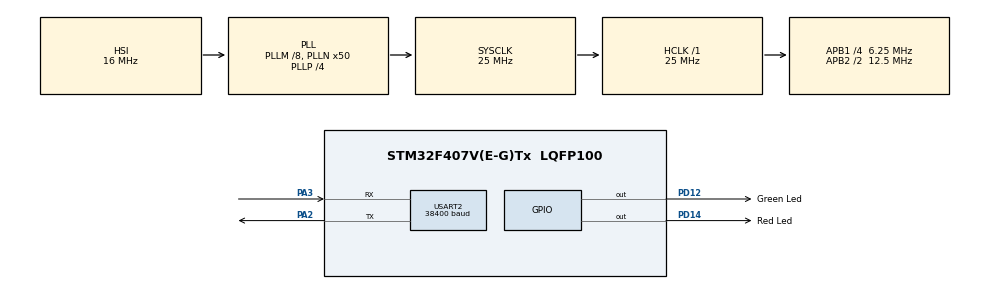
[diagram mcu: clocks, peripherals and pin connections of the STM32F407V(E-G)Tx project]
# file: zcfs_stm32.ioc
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Dma.Request0=USART2_TX
Dma.Request1=USART2_RX
Dma.USART2_RX.1.Direction=DMA_PERIPH_TO_MEMORY
Dma.USART2_RX.1.FIFOMode=DMA_FIFOMODE_DISABLE
Dma.USART2_RX.1.Instance=DMA1_Stream5
Dma.USART2_RX.1.MemDataAlignment=DMA_MDATAALIGN_BYTE
Dma.USART2_RX.1.MemInc=DMA_MINC_ENABLE
Dma.USART2_RX.1.Mode=DMA_NORMAL
Dma.USART2_RX.1.PeriphDataAlignment=DMA_PDATAALIGN_BYTE
Dma.USART2_RX.1.PeriphInc=DMA_PINC_DISABLE
Dma.USART2_RX.1.Priority=DMA_PRIORITY_LOW
Dma.USART2_TX.0.Direction=DMA_MEMORY_TO_PERIPH
Dma.USART2_TX.0.FIFOMode=DMA_FIFOMODE_DISABLE
Dma.USART2_TX.0.Instance=DMA1_Stream6
Dma.USART2_TX.0.MemDataAlignment=DMA_MDATAALIGN_BYTE
Dma.USART2_TX.0.MemInc=DMA_MINC_ENABLE
Dma.USART2_TX.0.Mode=DMA_NORMAL
Dma.USART2_TX.0.PeriphDataAlignment=DMA_PDATAALIGN_BYTE
Dma.USART2_TX.0.PeriphInc=DMA_PINC_DISABLE
Dma.USART2_TX.0.Priority=DMA_PRIORITY_LOW
Mcu.Family=STM32F4
Mcu.Name=STM32F407V(E-G)Tx
Mcu.Package=LQFP100
NVIC.DMA1_Stream5_IRQn=true\:1\:0\:true\:false\:true\:false\:true
NVIC.DMA1_Stream6_IRQn=true\:1\:0\:true\:false\:true\:false\:true
NVIC.PriorityGroup=NVIC_PRIORITYGROUP_2
NVIC.TIM6_DAC_IRQn=true\:2\:0\:true\:false\:true\:true\:true
NVIC.USART2_IRQn=true\:0\:0\:true\:false\:true\:true\:true
PA2.Mode=Asynchronous
PA2.Signal=USART2_TX
PA3.Mode=Asynchronous
PA3.Signal=USART2_RX
PD12.GPIO_Label=Green Led
PD12.Signal=GPIO_Output
PD14.GPIO_Label=Red Led
PD14.Signal=GPIO_Output
ProjectManager.HeapSize=0x200
ProjectManager.StackSize=0x400
ProjectManager.TargetToolchain=STM32CubeIDE
RCC.48MHZClocksFreq_Value=14285714.285714285
RCC.AHBFreq_Value=25000000
RCC.APB1CLKDivider=RCC_HCLK_DIV4
RCC.APB1Freq_Value=6250000
RCC.APB1TimFreq_Value=12500000
RCC.APB2CLKDivider=RCC_HCLK_DIV2
RCC.APB2Freq_Value=12500000
RCC.APB2TimFreq_Value=25000000
RCC.CortexFreq_Value=25000000
RCC.HCLKFreq_Value=25000000
RCC.HSE_VALUE=8000000
RCC.HSI_VALUE=16000000
RCC.LSE_VALUE=32768
RCC.PLLM=8
RCC.PLLN=50
RCC.PLLP=RCC_PLLP_DIV4
RCC.PLLQ=7
RCC.SYSCLKFreq_VALUE=25000000
RCC.SYSCLKSource=RCC_SYSCLKSOURCE_PLLCLK
RCC.VCOOutputFreq_Value=100000000
TIM6.Period=999
TIM6.Prescaler=24999
USART2.BaudRate=38400
USART2.VirtualMode=VM_ASYNC
VP_TIM6_VS_ClockSourceINT.Mode=Enable_Timer
board=STM32F407G-DISC1

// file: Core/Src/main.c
/* USER CODE BEGIN Header */
/**
  ******************************************************************************
  * @file           : main.c
  * @brief          : Main program body
  ******************************************************************************
  * @attention
  *
  * <h2><center>&copy; Copyright (c) 2021 STMicroelectronics.
  * All rights reserved.</center></h2>
  *
  * This software component is licensed by ST under Ultimate Liberty license
  * SLA0044, the "License"; You may not use this file except in compliance with
  * the License. You may obtain a copy of the License at:
  *                             www.st.com/SLA0044
  *
  ******************************************************************************
  */
/* USER CODE END Header */
#include "main.h"

/* USER CODE BEGIN Includes */
#include <stdio.h>
#include <string.h>
#include "fs_syscalls.h"
#include "../Tests/Inc/tests.h"

//#include "fs_core.h"

/* USER CODE END Includes */

TIM_HandleTypeDef htim6;

UART_HandleTypeDef huart2;
DMA_HandleTypeDef hdma_usart2_tx;
DMA_HandleTypeDef hdma_usart2_rx;

void SystemClock_Config(void);
static void MX_GPIO_Init(void);
static void MX_DMA_Init(void);
static void MX_USART2_UART_Init(void);
static void MX_TIM6_Init(void);

int main(void)
{

  /* MCU Configuration--------------------------------------------------------*/

  /* Reset of all peripherals, Initializes the Flash interface and the Systick. */
  HAL_Init();

  /* USER CODE BEGIN Init */
//  mbuf = buffer_init(mbuf);

  /* USER CODE END Init */

  /* Configure the system clock */
  SystemClock_Config();

  /* Initialize all configured peripherals */
  MX_GPIO_Init();
  MX_DMA_Init();
  MX_USART2_UART_Init();
  MX_TIM6_Init();
  /* USER CODE BEGIN 2 */

  zcfs_init(&huart2, &hdma_usart2_tx, &hdma_usart2_rx);

  HAL_TIM_Base_Init(&htim6);
  HAL_TIM_Base_Start_IT(&htim6); //Start the timer

/*
 * TESTS
 */
//  demo_0();
//  demo_1();
//  demo_2();
//  test_write_long();

  /* USER CODE END 2 */

  /* Infinite loop */
  while (1)
  {

  }
}

void SystemClock_Config(void)
{
  RCC_OscInitTypeDef RCC_OscInitStruct = {0};
  RCC_ClkInitTypeDef RCC_ClkInitStruct = {0};

  /** Configure the main internal regulator output voltage
  */
  __HAL_RCC_PWR_CLK_ENABLE();
  __HAL_PWR_VOLTAGESCALING_CONFIG(PWR_REGULATOR_VOLTAGE_SCALE1);
  /** Initializes the RCC Oscillators according to the specified parameters
  * in the RCC_OscInitTypeDef structure.
  */
  RCC_OscInitStruct.OscillatorType = RCC_OSCILLATORTYPE_HSI;
  RCC_OscInitStruct.HSIState = RCC_HSI_ON;
  RCC_OscInitStruct.HSICalibrationValue = RCC_HSICALIBRATION_DEFAULT;
  RCC_OscInitStruct.PLL.PLLState = RCC_PLL_ON;
  RCC_OscInitStruct.PLL.PLLSource = RCC_PLLSOURCE_HSI;
  RCC_OscInitStruct.PLL.PLLM = 8;
  RCC_OscInitStruct.PLL.PLLN = 50;
  RCC_OscInitStruct.PLL.PLLP = RCC_PLLP_DIV4;
  RCC_OscInitStruct.PLL.PLLQ = 7;
  if (HAL_RCC_OscConfig(&RCC_OscInitStruct) != HAL_OK)
  {
    Error_Handler();
  }
  /** Initializes the CPU, AHB and APB buses clocks
  */
  RCC_ClkInitStruct.ClockType = RCC_CLOCKTYPE_HCLK|RCC_CLOCKTYPE_SYSCLK
                              |RCC_CLOCKTYPE_PCLK1|RCC_CLOCKTYPE_PCLK2;
  RCC_ClkInitStruct.SYSCLKSource = RCC_SYSCLKSOURCE_PLLCLK;
  RCC_ClkInitStruct.AHBCLKDivider = RCC_SYSCLK_DIV1;
  RCC_ClkInitStruct.APB1CLKDivider = RCC_HCLK_DIV4;
  RCC_ClkInitStruct.APB2CLKDivider = RCC_HCLK_DIV2;

  if (HAL_RCC_ClockConfig(&RCC_ClkInitStruct, FLASH_LATENCY_0) != HAL_OK)
  {
    Error_Handler();
  }
}

static void MX_TIM6_Init(void)
{

  TIM_MasterConfigTypeDef sMasterConfig = {0};

  htim6.Instance = TIM6;
  htim6.Init.Prescaler = 24999;
  htim6.Init.CounterMode = TIM_COUNTERMODE_UP;
  htim6.Init.Period = 999;
  htim6.Init.AutoReloadPreload = TIM_AUTORELOAD_PRELOAD_DISABLE;
  if (HAL_TIM_Base_Init(&htim6) != HAL_OK)
  {
    Error_Handler();
  }
  sMasterConfig.MasterOutputTrigger = TIM_TRGO_RESET;
  sMasterConfig.MasterSlaveMode = TIM_MASTERSLAVEMODE_DISABLE;
  if (HAL_TIMEx_MasterConfigSynchronization(&htim6, &sMasterConfig) != HAL_OK)
  {
    Error_Handler();
  }
  /* USER CODE BEGIN TIM6_Init 2 */

//   HAL_NVIC_SetPriority(TIM6_DAC_IRQn, 2, 0); //Enable the peripheral IRQ
//   HAL_NVIC_EnableIRQ(TIM6_DAC_IRQn);

  /* USER CODE END TIM6_Init 2 */

}

static void MX_USART2_UART_Init(void)
{

  huart2.Instance = USART2;
  huart2.Init.BaudRate = 38400;
  huart2.Init.WordLength = UART_WORDLENGTH_8B;
  huart2.Init.StopBits = UART_STOPBITS_1;
  huart2.Init.Parity = UART_PARITY_NONE;
  huart2.Init.Mode = UART_MODE_TX_RX;
  huart2.Init.HwFlowCtl = UART_HWCONTROL_NONE;
  huart2.Init.OverSampling = UART_OVERSAMPLING_16;
  if (HAL_UART_Init(&huart2) != HAL_OK)
  {
    Error_Handler();
  }

}

static void MX_DMA_Init(void)
{

  /* DMA controller clock enable */
  __HAL_RCC_DMA1_CLK_ENABLE();

  /* DMA interrupt init */
  /* DMA1_Stream5_IRQn interrupt configuration */
  HAL_NVIC_SetPriority(DMA1_Stream5_IRQn, 1, 0);
  HAL_NVIC_EnableIRQ(DMA1_Stream5_IRQn);
  /* DMA1_Stream6_IRQn interrupt configuration */
  HAL_NVIC_SetPriority(DMA1_Stream6_IRQn, 1, 0);
  HAL_NVIC_EnableIRQ(DMA1_Stream6_IRQn);

}

static void MX_GPIO_Init(void)
{
  GPIO_InitTypeDef GPIO_InitStruct = {0};

  /* GPIO Ports Clock Enable */
  __HAL_RCC_GPIOA_CLK_ENABLE();
  __HAL_RCC_GPIOD_CLK_ENABLE();

  /*Configure GPIO pin Output Level */
  HAL_GPIO_WritePin(GPIOD, Green_Led_Pin|Red_Led_Pin, GPIO_PIN_RESET);

  /*Configure GPIO pins : Green_Led_Pin Red_Led_Pin */
  GPIO_InitStruct.Pin = Green_Led_Pin|Red_Led_Pin;
  GPIO_InitStruct.Mode = GPIO_MODE_OUTPUT_PP;
  GPIO_InitStruct.Pull = GPIO_NOPULL;
  GPIO_InitStruct.Speed = GPIO_SPEED_FREQ_LOW;
  HAL_GPIO_Init(GPIOD, &GPIO_InitStruct);

}

/* USER CODE BEGIN 4 */

void TIM6_IRQHandler(void) {
  // Pass the control to HAL, which processes the IRQ
  HAL_TIM_IRQHandler(&htim6);
}

void HAL_TIM_PeriodElapsedCallback(TIM_HandleTypeDef *htim) {
  // This callback is automatically called by the HAL on the UEV event
  if(htim->Instance == TIM6){
    HAL_TIM_Base_Stop_IT(htim);

    HAL_GPIO_TogglePin(GPIOD, GPIO_PIN_14); // Green
  	buffer_flush(mbuf);
    HAL_GPIO_TogglePin(GPIOD, GPIO_PIN_12); // Red

    HAL_TIM_Base_Start_IT(htim);
  }

}

// DMA WRITE CALLBACK
//void DMATransferComplete(DMA_HandleTypeDef *hdma){
//  if(hdma->Instance == DMA1_Stream6){
//	  // Turn Red Led On
//	  HAL_GPIO_WritePin(GPIOD, GPIO_PIN_14, GPIO_PIN_SET);
////	  HAL_Delay(50);
////	  HAL_GPIO_WritePin(GPIOD, GPIO_PIN_14, GPIO_PIN_RESET);
//  }
//}
//
////// DMA READ CALLBACK
//void DMAReceiveComplete(DMA_HandleTypeDef *hdma){
//  if(hdma->Instance == DMA1_Stream5){
//	  // Turn Green Led On
//	  HAL_GPIO_WritePin(GPIOD, GPIO_PIN_12, GPIO_PIN_SET);
////	  HAL_Delay(50);
////	  HAL_GPIO_WritePin(GPIOD, GPIO_PIN_12, GPIO_PIN_RESET);
//  }
//}
/* USER CODE END 4 */

void Error_Handler(void)
{
  __disable_irq();
  while (1)
  {
  }
}

/************************ (C) COPYRIGHT STMicroelectronics *****END OF FILE****/
